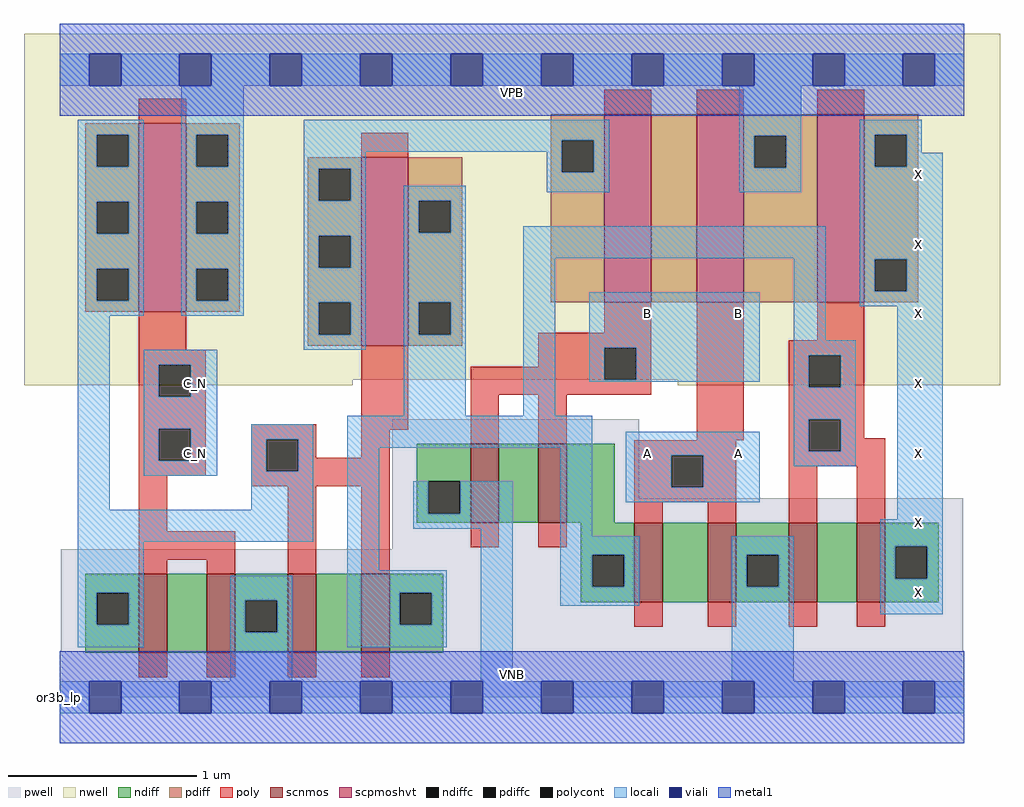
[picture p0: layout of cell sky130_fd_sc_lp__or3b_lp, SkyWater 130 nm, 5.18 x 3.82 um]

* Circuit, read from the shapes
.subckt sky130_fd_sc_lp__or3b_lp A B C_N VGND VNB VPB VPWR X
XM1 n1 C_N n2 VNB sky130_fd_pr__nfet_01v8 w=0.42 l=0.15
XM2 VGND C_N n1 VNB sky130_fd_pr__nfet_01v8 w=0.42 l=0.15
XM3 n3 n2 VGND VNB sky130_fd_pr__nfet_01v8 w=0.42 l=0.15
XM4 n4 n2 n3 VNB sky130_fd_pr__nfet_01v8 w=0.42 l=0.15
XM5 n5 B VGND VNB sky130_fd_pr__nfet_01v8 w=0.42 l=0.15
XM6 n4 B n5 VNB sky130_fd_pr__nfet_01v8 w=0.42 l=0.15
XM7 n6 A n4 VNB sky130_fd_pr__nfet_01v8 w=0.42 l=0.15
XM8 VGND A n6 VNB sky130_fd_pr__nfet_01v8 w=0.42 l=0.15
XM9 n7 n4 VGND VNB sky130_fd_pr__nfet_01v8 w=0.42 l=0.15
XM10 X n4 n7 VNB sky130_fd_pr__nfet_01v8 w=0.42 l=0.15
XM11 VPWR C_N n2 VPB sky130_fd_pr__pfet_01v8_hvt w=1 l=0.25
XM12 n4 n2 n8 VPB sky130_fd_pr__pfet_01v8_hvt w=1 l=0.25
XM13 n9 B n8 VPB sky130_fd_pr__pfet_01v8_hvt w=1 l=0.25
XM14 VPWR A n9 VPB sky130_fd_pr__pfet_01v8_hvt w=1 l=0.25
XM15 X n4 VPWR VPB sky130_fd_pr__pfet_01v8_hvt w=1 l=0.25
.ends

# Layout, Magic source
magic
tech sky130A
magscale 1 2
<< nwell >>
rect -38 337 998 704
rect -38 331 311 337
rect 656 331 998 337
<< pwell >>
rect 353 211 615 295
rect 353 157 959 211
rect 1 49 959 157
rect 0 0 960 49
<< scnmos >>
rect 436 185 466 269
rect 508 185 538 269
rect 84 47 114 131
rect 156 47 186 131
rect 242 47 272 131
rect 320 47 350 131
rect 610 101 640 185
rect 688 101 718 185
rect 774 101 804 185
rect 846 101 876 185
<< scpmoshvt >>
rect 84 409 134 609
rect 320 373 370 573
rect 578 419 628 619
rect 676 419 726 619
rect 804 419 854 619
<< ndiff >>
rect 379 229 436 269
rect 379 195 391 229
rect 425 195 436 229
rect 379 185 436 195
rect 466 185 508 269
rect 538 185 589 269
rect 553 151 610 185
rect 27 111 84 131
rect 27 77 39 111
rect 73 77 84 111
rect 27 47 84 77
rect 114 47 156 131
rect 186 103 242 131
rect 186 69 197 103
rect 231 69 242 103
rect 186 47 242 69
rect 272 47 320 131
rect 350 111 407 131
rect 350 77 361 111
rect 395 77 407 111
rect 553 117 565 151
rect 599 117 610 151
rect 553 101 610 117
rect 640 101 688 185
rect 718 151 774 185
rect 718 117 729 151
rect 763 117 774 151
rect 718 101 774 117
rect 804 101 846 185
rect 876 160 933 185
rect 876 126 887 160
rect 921 126 933 160
rect 876 101 933 126
rect 350 47 407 77
<< pdiff >>
rect 27 597 84 609
rect 27 563 39 597
rect 73 563 84 597
rect 27 526 84 563
rect 27 492 39 526
rect 73 492 84 526
rect 27 455 84 492
rect 27 421 39 455
rect 73 421 84 455
rect 27 409 84 421
rect 134 597 191 609
rect 134 563 145 597
rect 179 563 191 597
rect 521 591 578 619
rect 134 526 191 563
rect 134 492 145 526
rect 179 492 191 526
rect 134 455 191 492
rect 134 421 145 455
rect 179 421 191 455
rect 134 409 191 421
rect 263 561 320 573
rect 263 527 275 561
rect 309 527 320 561
rect 263 490 320 527
rect 263 456 275 490
rect 309 456 320 490
rect 263 419 320 456
rect 263 385 275 419
rect 309 385 320 419
rect 263 373 320 385
rect 370 527 427 573
rect 370 493 381 527
rect 415 493 427 527
rect 370 419 427 493
rect 521 557 533 591
rect 567 557 578 591
rect 521 419 578 557
rect 628 419 676 619
rect 726 596 804 619
rect 726 562 737 596
rect 771 562 804 596
rect 726 419 804 562
rect 854 597 911 619
rect 854 563 865 597
rect 899 563 911 597
rect 854 465 911 563
rect 854 431 865 465
rect 899 431 911 465
rect 854 419 911 431
rect 370 385 381 419
rect 415 385 427 419
rect 370 373 427 385
<< ndiffc >>
rect 391 195 425 229
rect 39 77 73 111
rect 197 69 231 103
rect 361 77 395 111
rect 565 117 599 151
rect 729 117 763 151
rect 887 126 921 160
<< pdiffc >>
rect 39 563 73 597
rect 39 492 73 526
rect 39 421 73 455
rect 145 563 179 597
rect 145 492 179 526
rect 145 421 179 455
rect 275 527 309 561
rect 275 456 309 490
rect 275 385 309 419
rect 381 493 415 527
rect 533 557 567 591
rect 737 562 771 596
rect 865 563 899 597
rect 865 431 899 465
rect 381 385 415 419
<< poly >>
rect 84 609 134 635
rect 578 619 628 645
rect 676 619 726 645
rect 804 619 854 645
rect 320 573 370 599
rect 84 369 134 409
rect 578 387 628 419
rect 84 353 155 369
rect 84 319 105 353
rect 139 319 155 353
rect 84 285 155 319
rect 84 251 105 285
rect 139 251 155 285
rect 84 235 155 251
rect 203 274 272 290
rect 203 240 219 274
rect 253 254 272 274
rect 320 284 370 373
rect 508 371 628 387
rect 508 351 578 371
rect 436 337 578 351
rect 612 337 628 371
rect 436 321 628 337
rect 320 254 350 284
rect 436 269 466 321
rect 508 269 538 321
rect 676 273 726 419
rect 804 379 854 419
rect 774 363 854 379
rect 774 329 795 363
rect 829 329 854 363
rect 774 295 854 329
rect 253 240 350 254
rect 84 176 114 235
rect 203 224 350 240
rect 84 146 186 176
rect 84 131 114 146
rect 156 131 186 146
rect 242 131 272 224
rect 320 131 350 224
rect 610 257 718 273
rect 610 223 649 257
rect 683 223 718 257
rect 610 207 718 223
rect 610 185 640 207
rect 688 185 718 207
rect 774 261 795 295
rect 829 275 854 295
rect 829 261 876 275
rect 774 245 876 261
rect 774 185 804 245
rect 846 185 876 245
rect 436 159 466 185
rect 508 159 538 185
rect 610 75 640 101
rect 688 75 718 101
rect 774 75 804 101
rect 846 75 876 101
rect 84 21 114 47
rect 156 21 186 47
rect 242 21 272 47
rect 320 21 350 47
<< polycont >>
rect 105 319 139 353
rect 105 251 139 285
rect 219 240 253 274
rect 578 337 612 371
rect 795 329 829 363
rect 649 223 683 257
rect 795 261 829 295
<< locali >>
rect 0 649 31 683
rect 65 649 127 683
rect 161 649 223 683
rect 257 649 319 683
rect 353 649 415 683
rect 449 649 511 683
rect 545 649 607 683
rect 641 649 703 683
rect 737 649 799 683
rect 833 649 895 683
rect 929 649 960 683
rect 19 597 89 613
rect 19 563 39 597
rect 73 563 89 597
rect 19 526 89 563
rect 19 492 39 526
rect 73 492 89 526
rect 19 455 89 492
rect 19 421 39 455
rect 73 421 89 455
rect 19 405 89 421
rect 129 597 195 649
rect 129 563 145 597
rect 179 563 195 597
rect 129 526 195 563
rect 129 492 145 526
rect 179 492 195 526
rect 129 455 195 492
rect 129 421 145 455
rect 179 421 195 455
rect 129 405 195 421
rect 259 591 583 613
rect 259 579 533 591
rect 259 561 325 579
rect 259 527 275 561
rect 309 527 325 561
rect 517 557 533 579
rect 567 557 583 591
rect 259 490 325 527
rect 259 456 275 490
rect 309 456 325 490
rect 259 419 325 456
rect 19 199 53 405
rect 259 385 275 419
rect 309 385 325 419
rect 259 369 325 385
rect 365 527 431 543
rect 517 536 583 557
rect 721 596 787 649
rect 721 562 737 596
rect 771 562 787 596
rect 721 536 787 562
rect 849 597 915 613
rect 849 563 865 597
rect 899 578 915 597
rect 899 563 937 578
rect 365 493 381 527
rect 415 493 431 527
rect 365 419 431 493
rect 365 385 381 419
rect 415 385 431 419
rect 89 353 167 369
rect 89 319 105 353
rect 139 319 167 353
rect 89 285 167 319
rect 365 299 431 385
rect 492 466 813 500
rect 492 299 526 466
rect 562 371 743 430
rect 562 337 578 371
rect 612 337 743 371
rect 562 335 743 337
rect 779 379 813 466
rect 849 465 937 563
rect 849 431 865 465
rect 899 431 937 465
rect 849 415 937 431
rect 779 363 845 379
rect 779 329 795 363
rect 829 329 845 363
rect 89 251 105 285
rect 139 251 167 285
rect 89 235 167 251
rect 203 274 269 290
rect 203 240 219 274
rect 253 240 269 274
rect 203 199 269 240
rect 19 165 269 199
rect 305 265 565 299
rect 779 295 845 329
rect 19 111 89 165
rect 305 135 339 265
rect 375 195 391 229
rect 425 195 481 229
rect 375 179 481 195
rect 19 77 39 111
rect 73 77 89 111
rect 19 53 89 77
rect 181 103 247 129
rect 181 69 197 103
rect 231 69 247 103
rect 181 17 247 69
rect 305 111 411 135
rect 305 77 361 111
rect 395 77 411 111
rect 305 53 411 77
rect 447 17 481 179
rect 531 171 565 265
rect 601 257 743 282
rect 601 223 649 257
rect 683 223 743 257
rect 779 261 795 295
rect 829 261 845 295
rect 779 245 845 261
rect 601 207 743 223
rect 889 189 937 415
rect 531 151 615 171
rect 531 117 565 151
rect 599 117 615 151
rect 531 97 615 117
rect 713 151 779 171
rect 713 117 729 151
rect 763 117 779 151
rect 713 17 779 117
rect 871 160 937 189
rect 871 126 887 160
rect 921 126 937 160
rect 871 88 937 126
rect 0 -17 31 17
rect 65 -17 127 17
rect 161 -17 223 17
rect 257 -17 319 17
rect 353 -17 415 17
rect 449 -17 511 17
rect 545 -17 607 17
rect 641 -17 703 17
rect 737 -17 799 17
rect 833 -17 895 17
rect 929 -17 960 17
<< viali >>
rect 31 649 65 683
rect 127 649 161 683
rect 223 649 257 683
rect 319 649 353 683
rect 415 649 449 683
rect 511 649 545 683
rect 607 649 641 683
rect 703 649 737 683
rect 799 649 833 683
rect 895 649 929 683
rect 31 -17 65 17
rect 127 -17 161 17
rect 223 -17 257 17
rect 319 -17 353 17
rect 415 -17 449 17
rect 511 -17 545 17
rect 607 -17 641 17
rect 703 -17 737 17
rect 799 -17 833 17
rect 895 -17 929 17
<< metal1 >>
rect 0 683 960 715
rect 0 649 31 683
rect 65 649 127 683
rect 161 649 223 683
rect 257 649 319 683
rect 353 649 415 683
rect 449 649 511 683
rect 545 649 607 683
rect 641 649 703 683
rect 737 649 799 683
rect 833 649 895 683
rect 929 649 960 683
rect 0 617 960 649
rect 0 17 960 49
rect 0 -17 31 17
rect 65 -17 127 17
rect 161 -17 223 17
rect 257 -17 319 17
rect 353 -17 415 17
rect 449 -17 511 17
rect 545 -17 607 17
rect 641 -17 703 17
rect 737 -17 799 17
rect 833 -17 895 17
rect 929 -17 960 17
rect 0 -49 960 -17
<< labels >>
flabel pwell s 0 0 960 49 0 FreeSans 200 0 0 0 VNB
port 5 nsew ground bidirectional
flabel nwell s 0 617 960 666 0 FreeSans 200 0 0 0 VPB
port 6 nsew power bidirectional
rlabel comment s 0 0 0 0 4 or3b_lp
flabel metal1 s 0 617 960 666 0 FreeSans 340 0 0 0 VPWR
port 7 nsew power bidirectional
flabel metal1 s 0 0 960 49 0 FreeSans 340 0 0 0 VGND
port 4 nsew ground bidirectional
flabel locali s 127 242 161 276 0 FreeSans 340 0 0 0 C_N
port 3 nsew signal input
flabel locali s 127 316 161 350 0 FreeSans 340 0 0 0 C_N
port 3 nsew signal input
flabel locali s 607 390 641 424 0 FreeSans 340 0 0 0 B
port 2 nsew signal input
flabel locali s 703 390 737 424 0 FreeSans 340 0 0 0 B
port 2 nsew signal input
flabel locali s 607 242 641 276 0 FreeSans 340 0 0 0 A
port 1 nsew signal input
flabel locali s 703 242 737 276 0 FreeSans 340 0 0 0 A
port 1 nsew signal input
flabel locali s 895 94 929 128 0 FreeSans 340 0 0 0 X
port 8 nsew signal output
flabel locali s 895 168 929 202 0 FreeSans 340 0 0 0 X
port 8 nsew signal output
flabel locali s 895 242 929 276 0 FreeSans 340 0 0 0 X
port 8 nsew signal output
flabel locali s 895 316 929 350 0 FreeSans 340 0 0 0 X
port 8 nsew signal output
flabel locali s 895 390 929 424 0 FreeSans 340 0 0 0 X
port 8 nsew signal output
flabel locali s 895 464 929 498 0 FreeSans 340 0 0 0 X
port 8 nsew signal output
flabel locali s 895 538 929 572 0 FreeSans 340 0 0 0 X
port 8 nsew signal output
<< properties >>
string LEFsite unit
string LEFclass CORE
string FIXED_BBOX 0 0 960 666
string GDS_FILE $PDKPATH/libs.ref/sky130_fd_sc_lp/gds/sky130_fd_sc_lp.gds
string LEFsymmetry X Y R90
string GDS_END 1640676
string GDS_START 1632156
<< end >>
